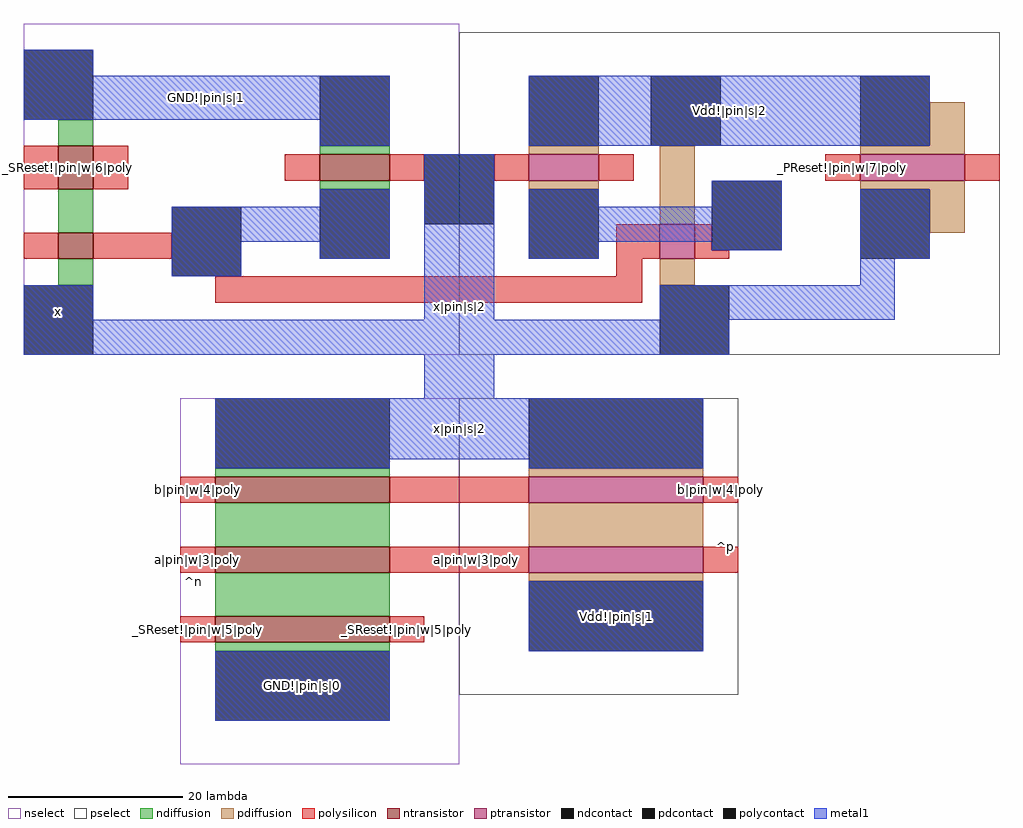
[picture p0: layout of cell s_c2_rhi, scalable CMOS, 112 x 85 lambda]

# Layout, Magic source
magic
tech scmos
<< nselect >>
rect -50 58 0 96
rect -32 11 0 53
<< pselect >>
rect 0 58 62 95
rect 0 19 32 53
<< ndiffusion >>
rect -46 82 -42 85
rect -16 81 -8 82
rect -16 77 -8 78
rect -46 72 -42 77
rect -46 66 -42 69
rect -28 44 -8 45
rect -28 36 -8 41
rect -28 28 -8 33
rect -28 24 -8 25
<< pdiffusion >>
rect 54 82 58 87
rect 8 81 16 82
rect 8 77 16 78
rect 23 73 27 82
rect 46 81 58 82
rect 46 77 58 78
rect 54 72 58 77
rect 23 66 27 69
rect 8 44 28 45
rect 8 36 28 41
rect 8 32 28 33
<< ntransistor >>
rect -46 77 -42 82
rect -16 78 -8 81
rect -46 69 -42 72
rect -28 41 -8 44
rect -28 33 -8 36
rect -28 25 -8 28
<< ptransistor >>
rect 8 78 16 81
rect 46 78 58 81
rect 23 69 27 73
rect 8 41 28 44
rect 8 33 28 36
<< polysilicon >>
rect -50 77 -46 82
rect -42 77 -38 82
rect -20 78 -16 81
rect -8 78 -4 81
rect -50 69 -46 72
rect -42 69 -33 72
rect 4 78 8 81
rect 16 78 20 81
rect 42 78 46 81
rect 58 78 62 81
rect 18 69 23 73
rect 27 70 29 73
rect 27 69 31 70
rect 18 67 21 69
rect -28 64 21 67
rect -32 41 -28 44
rect -8 41 8 44
rect 28 41 32 44
rect -32 33 -28 36
rect -8 33 8 36
rect 28 33 32 36
rect -32 25 -28 28
rect -8 25 -4 28
<< ndcontact >>
rect -50 85 -42 93
rect -16 82 -8 90
rect -16 69 -8 77
rect -50 58 -42 66
rect -28 45 -8 53
rect -28 16 -8 24
<< pdcontact >>
rect 8 82 16 90
rect 22 82 30 90
rect 46 82 54 90
rect 8 69 16 77
rect 46 69 54 77
rect 23 58 31 66
rect 8 45 28 53
rect 8 24 28 32
<< polycontact >>
rect -33 67 -25 75
rect -4 73 4 81
rect 29 70 37 78
<< metal1 >>
rect -50 90 -42 93
rect -50 85 -8 90
rect -16 82 -8 85
rect 8 82 54 90
rect -16 75 -8 77
rect -33 71 -8 75
rect -33 67 -25 71
rect -16 69 -8 71
rect -50 62 -42 66
rect -4 62 4 81
rect 8 75 16 77
rect 29 75 37 78
rect 8 71 37 75
rect 8 69 16 71
rect 29 70 37 71
rect 46 69 54 77
rect 46 66 50 69
rect 23 62 50 66
rect -50 58 31 62
rect -4 53 4 58
rect -28 46 28 53
rect -28 45 -8 46
rect 8 45 28 46
rect 8 24 28 32
rect -28 16 -8 24
<< labels >>
rlabel metal1 -46 63 -46 63 3 x
rlabel space -33 11 -28 53 7 ^n
rlabel space 28 19 33 53 3 ^p
rlabel metal1 8 24 28 32 1 Vdd!|pin|s|1
rlabel metal1 -4 46 4 81 1 x|pin|s|2
rlabel metal1 -28 46 28 53 1 x|pin|s|2
rlabel polysilicon 28 33 32 36 1 a|pin|w|3|poly
rlabel polysilicon 0 33 4 36 1 a|pin|w|3|poly
rlabel polysilicon -32 33 -28 36 1 a|pin|w|3|poly
rlabel polysilicon -32 41 -28 44 1 b|pin|w|4|poly
rlabel polysilicon 28 41 32 44 1 b|pin|w|4|poly
rlabel polysilicon -32 25 -28 28 1 _SReset!|pin|w|5|poly
rlabel polysilicon -8 25 -4 28 1 _SReset!|pin|w|5|poly
rlabel polysilicon -50 77 -46 82 1 _SReset!|pin|w|6|poly
rlabel polysilicon -42 77 -38 82 1 _SReset!|pin|w|6|poly
rlabel polysilicon 42 78 46 81 1 _PReset!|pin|w|7|poly
rlabel polysilicon 58 78 62 81 1 _PReset!|pin|w|7|poly
rlabel metal1 -28 16 -8 24 1 GND!|pin|s|0
rlabel metal1 8 82 54 90 1 Vdd!|pin|s|2
rlabel metal1 -50 85 -8 90 1 GND!|pin|s|1
<< end >>
